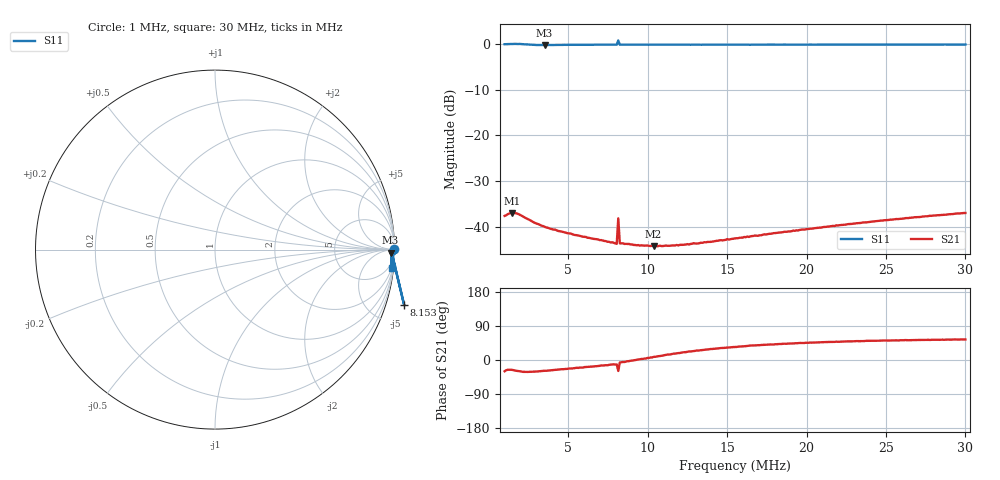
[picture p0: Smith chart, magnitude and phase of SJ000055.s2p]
!File created by NanoVNA-F V2
# Hz S RI R 50
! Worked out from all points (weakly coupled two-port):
!   301 points, 1 MHz to 30 MHz, reference 50 ohm
!   highest |S21| = -37.01 dB at 1.483 MHz (marker M1); lowest = -44.3 dB at 10.38 MHz (marker M2)
!   lowest |S11| = -0.2 dB at 3.513 MHz (marker M3), VSWR 91.22, Z = 2.81e+03 - j2.22e+03 ohm
!   |S11| at or under -10 dB: nowhere
!   S12 and S22 are empty: the file has one direction only
!   S11 on the Smith chart (normalised r, x): 1 MHz: open; 8.153 MHz: -2.09, -6.27; 30 MHz: 2, -19
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1000000  0.9993 0.00439  0.0114 -0.00648  0 0  0 0
1289998  1.004 0.000354  0.0125 -0.00605  0 0  0 0
1483330  1.005 -0.00444  0.0127 -0.00621  0 0  0 0
1773328  1.006 -0.0131  0.0122 -0.00668  0 0  0 0
2449990  0.9923 -0.0303  0.0103 -0.00631  0 0  0 0
3513316  0.9782 -0.0169  0.00874 -0.00474  0 0  0 0
4383310  0.982 -0.0135  0.00808 -0.0038  0 0  0 0
5833300  0.9862 -0.0199  0.00733 -0.00269  0 0  0 0
8056618  0.9863 -0.0272  0.00632 -0.00132  0 0  0 0
8153284  1.054 -0.3096  0.0108 -0.00596  0 0  0 0
8249950  0.9873 -0.0272  0.0065 -0.000767  0 0  0 0
9506608  0.9866 -0.0322  0.00617 0.000195  0 0  0 0
1.03766e7  0.9857 -0.0365  0.00603 0.000869  0 0  0 0
1.06666e7  0.9872 -0.0368  0.006 0.00107  0 0  0 0
1.259992e7  0.9868 -0.0424  0.00588 0.00243  0 0  0 0
1.288992e7  0.9856 -0.044  0.00603 0.0026  0 0  0 0
1.308325e7  0.9856 -0.0438  0.00588 0.00276  0 0  0 0
1.54999e7  0.9864 -0.051  0.00613 0.00418  0 0  0 0
2.03332e7  0.9857 -0.068  0.0066 0.00679  0 0  0 0
2.187986e7  0.9863 -0.0735  0.00685 0.00771  0 0  0 0
2.51665e7  0.9862 -0.0856  0.00739 0.0092  0 0  0 0
2.99998e7  0.9854 -0.1032  0.00823 0.0114  0 0  0 0
